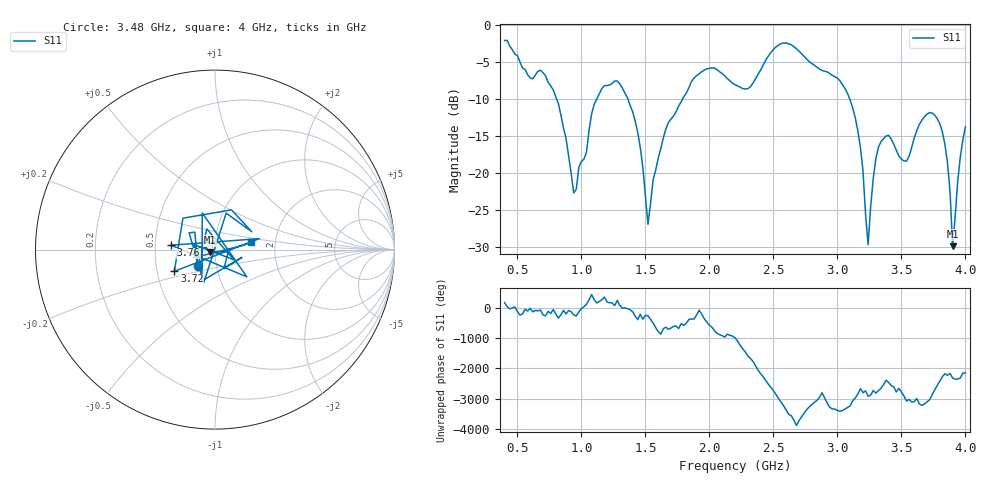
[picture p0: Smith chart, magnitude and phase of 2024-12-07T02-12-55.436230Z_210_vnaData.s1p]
!Created with skrf (http://scikit-rf.org).
# Hz S RI R 50.0
!freq ReS11 ImS11
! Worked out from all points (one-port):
!   181 points, 400 MHz to 4 GHz, reference 50 ohm
!   lowest |S11| = -30.0 dB at 3.9 GHz (marker M1), VSWR 1.07, Z = 47.3 - j1.42 ohm
!   |S11| at or under -10 dB: 807 MHz to 1.12 GHz (312.7 MHz wide, 32.5 % of centre); 1.364 GHz to 1.79 GHz (426.5 MHz wide, 27 % of centre); 3.097 GHz to end of sweep
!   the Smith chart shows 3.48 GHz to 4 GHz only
!   S11 on the Smith chart (normalised r, x): 3.48 GHz: 0.81, -0.15; 3.72 GHz: 0.62, -0.16; 3.76 GHz: 0.61, +0.03; 4 GHz: 1.50, +0.13
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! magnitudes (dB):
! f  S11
! 400 MHz  -2.0
! 720 MHz  -6.8
! 860 MHz  -13.9
! 940 MHz  -22.7
! 1.1 GHz  -10.7
! 1.3 GHz  -7.9
! 1.44 GHz  -14.5
! 1.52 GHz  -27.0
! 1.56 GHz  -21.0
! 1.64 GHz  -15.2
! 1.76 GHz  -10.9
! 1.98 GHz  -5.9
! 2.2 GHz  -8.0
! 2.66 GHz  -2.9
! 3.1 GHz  -10.1
! 3.18 GHz  -16.6
! 3.24 GHz  -29.8
! 3.28 GHz  -20.8
! 3.32 GHz  -16.6
! 3.4 GHz  -14.9
! 3.48 GHz  -17.7
! 3.56 GHz  -17.8
! 3.72 GHz  -11.8
! 3.76 GHz  -12.2
! 3.86 GHz  -18.6
! 3.9 GHz  -30.0
! 3.94 GHz  -21.1
! 4 GHz  -13.8
